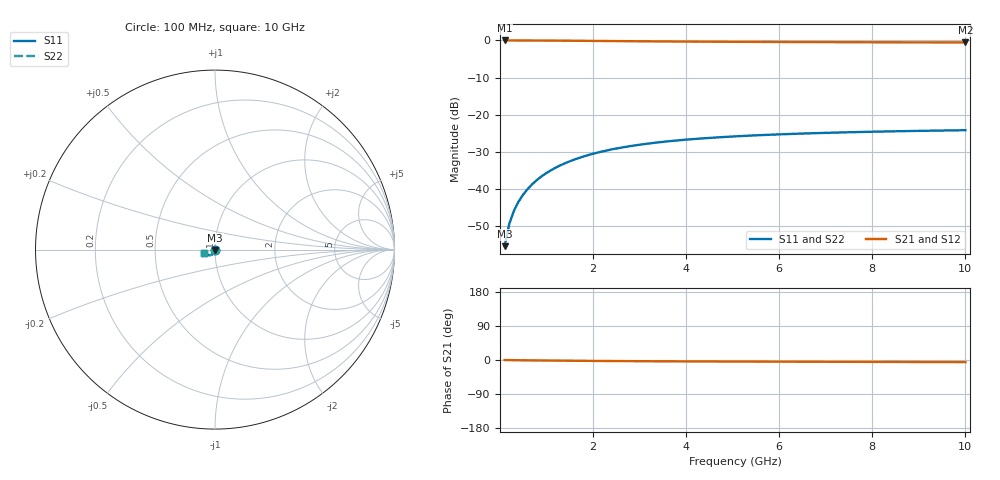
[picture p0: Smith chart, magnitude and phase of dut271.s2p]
! Touchstone file exported from HFSS 2024.1.0
!  File:  C:/UserFiles/LocalFiles/RDL_TSV_Batchsim/temp_TSV1_271_1779392370.aedt
!  Generated:  03:46:35 AM May 22, 2026
!  Design:  TSV1
!  Project:  temp_TSV1_271_1779392370
!  Setup:  Setup1
!  Solution:  Sweep
! Variables:
!  dtsv = 12.25um
!  hbump = 3um
!  htsv = 87.95um
!  lrdl = 252.1521522um
!  p = 40
!  p1 = 46.11um
!  t = 500um
!  trdl = 3um
!  wrdl = 24.89489489um
# GHz S MA R 50.000000
! Terminal data exported
! Port[1] = TSV22_T1
! Port[2] = TSV22_T2
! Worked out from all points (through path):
!   100 points, 100 MHz to 10 GHz, reference 50 ohm
!   highest |S21| = 0.00 dB at 100 MHz (marker M1); lowest = -0.5 dB at 10 GHz (marker M2)
!   lowest |S11| = -55.5 dB at 100 MHz (marker M3), VSWR 1.00, Z = 50 - j0.168 ohm
!   |S11| at or under -10 dB: start of sweep to end of sweep
!   |S22| runs from -55.5 to -24.2 dB; largest |S21 - S12| = 9e-15
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0.1  0.001679 -88.0  0.9998 -0.1  0.9998 -0.1  0.001679 -88.0
! Gamma 0 0 0 0
! Port Impedance 50 0 50 0
0.2  0.003355 -91.2  0.9997 -0.3  0.9997 -0.3  0.003355 -91.2
0.3  0.00503 -93.3  0.9994 -0.4  0.9994 -0.4  0.00503 -93.3
0.4  0.006699 -95.2  0.9991 -0.6  0.9991 -0.6  0.006699 -95.2
0.5  0.008356 -97.0  0.9987 -0.7  0.9987 -0.7  0.008356 -97.0
0.6  0.009996 -98.7  0.9982 -0.8  0.9982 -0.8  0.009996 -98.7
0.7  0.01161 -100.3  0.9976 -1.0  0.9976 -1.0  0.01161 -100.3
0.8  0.01321 -101.9  0.9969 -1.1  0.9969 -1.1  0.01321 -101.9
0.9  0.01477 -103.5  0.9962 -1.2  0.9962 -1.2  0.01477 -103.5
1.1  0.01781 -106.6  0.9946 -1.5  0.9946 -1.5  0.01781 -106.6
1.4  0.02209 -111.0  0.9918 -1.8  0.9918 -1.8  0.02209 -111.0
1.6  0.02476 -113.8  0.9898 -2.0  0.9898 -2.0  0.02476 -113.8
1.8  0.02727 -116.4  0.9877 -2.2  0.9877 -2.2  0.02727 -116.4
2.1  0.03075 -120.2  0.9845 -2.5  0.9845 -2.5  0.03075 -120.2
2.5  0.03485 -124.7  0.9802 -2.8  0.9802 -2.8  0.03485 -124.7
2.9  0.0384 -128.8  0.9761 -3.1  0.9761 -3.1  0.0384 -128.8
3.4  0.04218 -133.3  0.9713 -3.3  0.9713 -3.3  0.04218 -133.3
4.2  0.04697 -139.5  0.9646 -3.7  0.9646 -3.7  0.04697 -139.5
5.1  0.05103 -145.1  0.9585 -4.1  0.9585 -4.1  0.05103 -145.1
6.7  0.05599 -152.8  0.9504 -4.6  0.9504 -4.6  0.05599 -152.8
8.4  0.05938 -159.0  0.9446 -5.1  0.9446 -5.1  0.05938 -159.0
10  0.06156 -163.7  0.9407 -5.6  0.9407 -5.6  0.06156 -163.7
